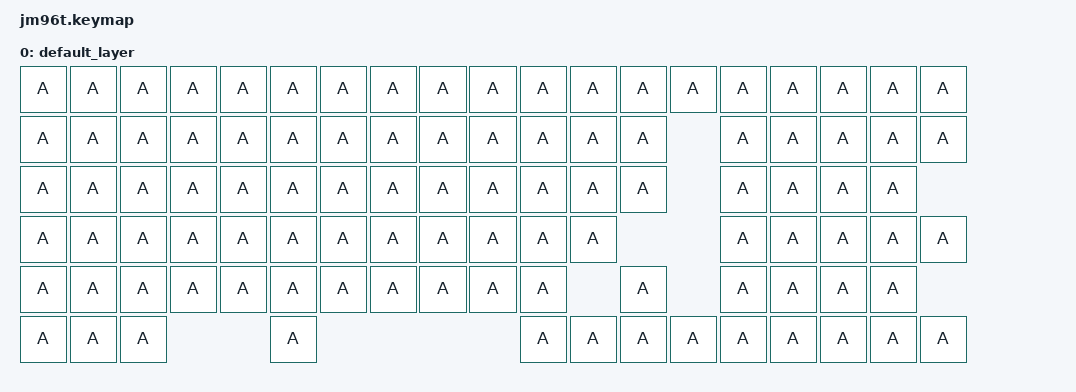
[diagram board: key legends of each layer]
/*
 * Copyright (c) 2021 Nick Winans
 *
 * SPDX-License-Identifier: MIT
 */

#include <behaviors.dtsi>
#include <dt-bindings/zmk/keys.h>
//#include <dt-bindings/zmk/rgb.h>
#include <dt-bindings/zmk/bt.h>
#include <dt-bindings/zmk/ext_power.h>
#include <dt-bindings/zmk/outputs.h>

/ {
    keymap {
        compatible = "zmk,keymap";

        default_layer {
            bindings = <
&kp A  &kp A  &kp A  &kp A  &kp A  &kp A &kp A  &kp A  &kp A  &kp A  &kp A  &kp A  &kp A &kp A &kp A &kp A &kp A &kp A &kp A 
&kp A  &kp A  &kp A  &kp A  &kp A  &kp A &kp A  &kp A  &kp A  &kp A  &kp A  &kp A  &kp A       &kp A &kp A &kp A &kp A &kp A 
&kp A  &kp A  &kp A  &kp A  &kp A  &kp A &kp A  &kp A  &kp A  &kp A  &kp A  &kp A  &kp A       &kp A &kp A &kp A &kp A          
&kp A  &kp A  &kp A  &kp A  &kp A  &kp A &kp A  &kp A  &kp A  &kp A  &kp A  &kp A              &kp A &kp A &kp A &kp A &kp A 
&kp A  &kp A  &kp A  &kp A  &kp A  &kp A &kp A  &kp A  &kp A  &kp A  &kp A         &kp A       &kp A &kp A &kp A &kp A          
&kp A  &kp A  &kp A                &kp A                             &kp A  &kp A  &kp A &kp A &kp A &kp A &kp A &kp A &kp A 
        >;

//            sensor-bindings = <&inc_dec_kp C_VOL_UP C_VOL_DN>;
        };
    };
};
